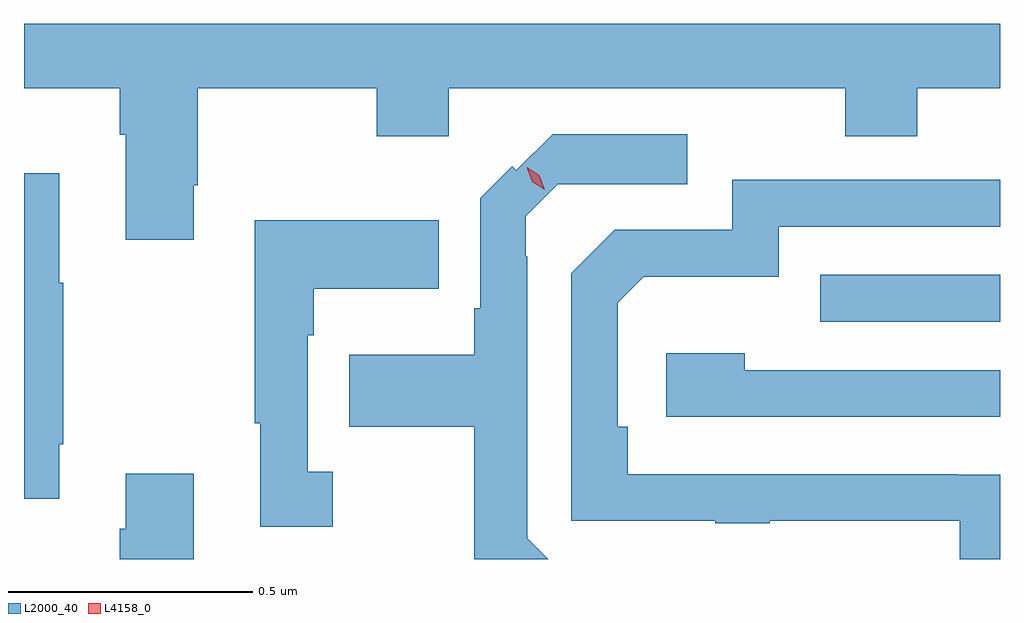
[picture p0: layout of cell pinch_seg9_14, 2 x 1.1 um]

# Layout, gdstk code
import gdstk
lib = gdstk.Library(unit=1e-6, precision=1e-09)
def R(c, l, rs):  # rectangles x0, y0, x1, y1
    for r in rs: c.add(gdstk.rectangle(r[:2], r[2:], *l))
def P(c, l, *ps):  # polygons
    for p in ps: c.add(gdstk.Polygon(p, *l))
L2000_40 = (2000, 40)
L4158_0 = (4158, 0)

pinch_seg9_14 = lib.new_cell('pinch_seg9_14')
R(pinch_seg9_14, L2000_40, [(1105.027,1247.889,1105.395,1247.985)])
P(pinch_seg9_14, L2000_40, [(1103.395,1248.368),(1103.591,1248.368),(1103.591,1248.272),(1103.603,1248.272),(1103.603,1248.057),(1103.743,1248.057),(1103.743,1248.169),(1103.751,1248.169),(1103.751,1248.368),(1104.118,1248.368),(1104.118,1248.269),(1104.265,1248.269),(1104.265,1248.368),(1105.078,1248.368),(1105.078,1248.269),(1105.225,1248.269),(1105.225,1248.368),(1105.395,1248.368),(1105.395,1248.5),(1103.395,1248.5)],
  [(1104.426,1247.445),(1104.426,1248.023),(1104.423,1248.023),(1104.423,1248.105),(1104.489,1248.171),(1104.754,1248.171),(1104.754,1248.273),(1104.478,1248.273),(1104.404,1248.199),(1104.396,1248.208),(1104.33,1248.142),(1104.33,1247.917),(1104.318,1247.917),(1104.318,1247.821),(1104.061,1247.821),(1104.061,1247.674),(1104.318,1247.674),(1104.318,1247.402),(1104.469,1247.402)],
  [(1103.467,1247.638),(1103.475,1247.638),(1103.475,1247.969),(1103.467,1247.969),(1103.467,1248.193),(1103.395,1248.193),(1103.395,1247.526),(1103.467,1247.526)],
  [(1105.395,1247.576),(1105.307,1247.576),(1105.307,1247.577),(1104.632,1247.577),(1104.632,1247.674),(1104.612,1247.674),(1104.612,1247.928),(1104.665,1247.981),(1104.942,1247.981),(1104.942,1248.084),(1105.395,1248.084),(1105.395,1248.18),(1104.846,1248.18),(1104.846,1248.078),(1104.606,1248.078),(1104.516,1247.988),(1104.516,1247.481),(1104.811,1247.481),(1104.811,1247.476),(1104.923,1247.476),(1104.923,1247.481),(1105.313,1247.481),(1105.313,1247.402),(1105.395,1247.402)],
  [(1104.028,1247.582),(1103.976,1247.582),(1103.976,1247.861),(1103.989,1247.861),(1103.989,1247.957),(1104.245,1247.957),(1104.245,1248.097),(1103.868,1248.097),(1103.868,1247.681),(1103.879,1247.681),(1103.879,1247.469),(1104.028,1247.469)],
  [(1105.395,1247.79),(1104.872,1247.79),(1104.872,1247.824),(1104.711,1247.824),(1104.711,1247.694),(1105.395,1247.694)],
  [(1103.743,1247.578),(1103.603,1247.578),(1103.603,1247.465),(1103.591,1247.465),(1103.591,1247.402),(1103.743,1247.402)])
P(pinch_seg9_14, L4158_0, [(1104.462,1248.159),(1104.436,1248.176),(1104.425,1248.206),(1104.425,1248.206),(1104.425,1248.206),(1104.451,1248.189),(1104.462,1248.16),(1104.462,1248.159)])

lib.write_gds('pinch_seg9_14.gds')
